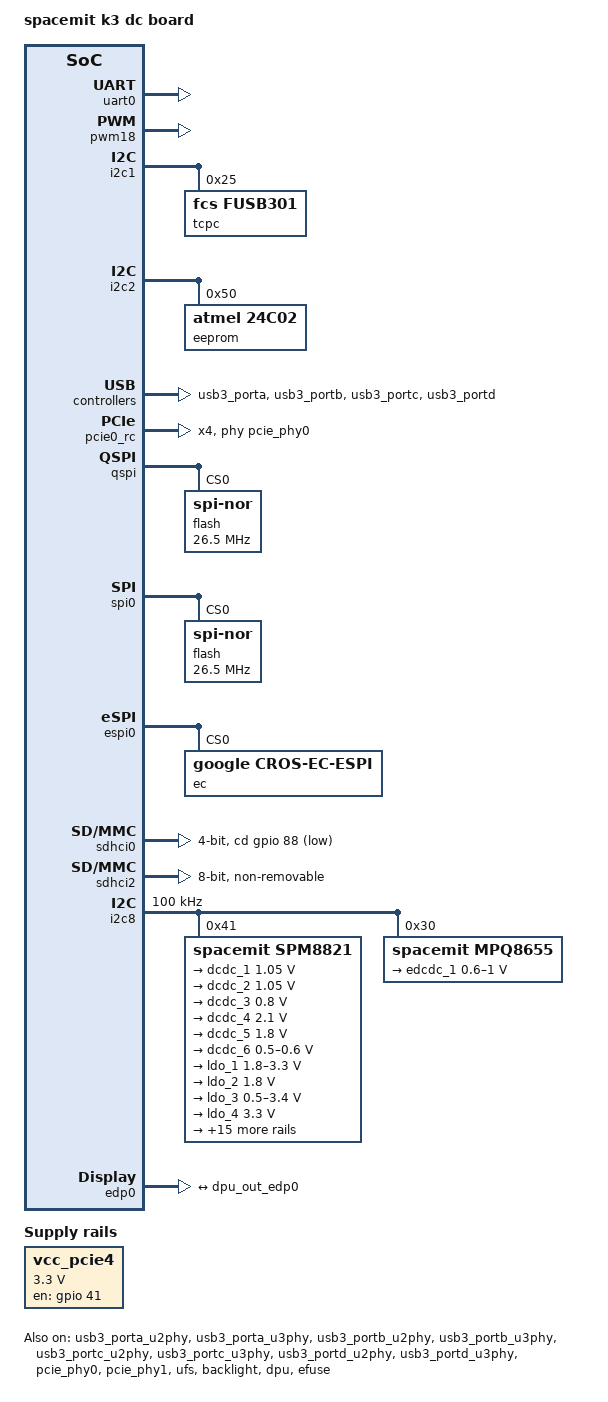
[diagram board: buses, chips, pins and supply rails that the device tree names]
// SPDX-License-Identifier: GPL-2.0
/*
 * finch board's base device tree configure.
 *
 * Copyright (C) 2025 SPACEMIT Micro Limited
 */

#include "k3.dtsi"
#include "k3-pinctrl.dtsi"
#include <dt-bindings/usb/pd.h>

/ {
	model = "spacemit k3 dc board";

	vcc_pcie4: regulator-vcc-pcie4 {
		compatible = "regulator-fixed";
		regulator-name = "pcie4 Vcc";
		regulator-min-microvolt = <3300000>;
		regulator-max-microvolt = <3300000>;
		gpio = <&gpio 41 0>;
		enable-active-high;
		regulator-boot-on;
		status = "okay";
	};
};

&cpus {
	timebase-frequency = <24000000>;
};

&pinctrl {
	espi0_grp {
		power-source = <1800>;
	};

	usb30_drd_dir_0_cfg: usb30_drd_dir-0-cfg {
		pinctrl-single,pins =<
			K3_PADCONF(GPIO_86, MUX_MODE6, (EDGE_NONE | PULL_UP | PAD_DS8)) /* usb30 drd dir */
		>;
		power-source = <1800>;
	};

	pcie0_1_grp {
		pinctrl-single,pins =<
			K3_PADCONF(GPIO_79, MUX_MODE5, (EDGE_NONE | PULL_UP | PAD_DS15))
			K3_PADCONF(GPIO_81, MUX_MODE5, (EDGE_NONE | PULL_UP | PAD_DS15))
		>;
		power-source = <1800>;
	};

	qspi_grp {
		power-source = <1800>;
	};

};

&uart0 {
	status = "okay";
};

&pwm18 {
	pinctrl-names = "default";
	pinctrl-0 = <&pinctrl_pwm18_2>;
	status = "okay";
};

&i2c1 {
	pinctrl-names = "default";
	pinctrl-0 = <&pinctrl_i2c1_3>;
	status = "okay";

	tcpc@25 {
		compatible = "fcs,fusb301";
		reg = <0x25>;

		connector {
			compatible = "usb-c-connector";
			label = "USB-C";
			power-role = "dual";
			data-role = "dual";
			try-power-role = "sink";
			source-pdos = <PDO_FIXED(5000, 2500, PDO_FIXED_USB_COMM)>;
			sink-pdos = <PDO_FIXED(5000, 1400, PDO_FIXED_USB_COMM)>;
			op-sink-microwatt = <15000000>;
			self-powered;
		};
	};
};

&i2c2 {
	#address-cells = <1>;
	#size-cells = <0>;
	pinctrl-names = "default";
	pinctrl-0 = <&pinctrl_i2c2_1>;
	status = "okay";

	eeprom@50{
		compatible = "atmel,24c02";
		reg = <0x50>;
		status = "okay";
	};
};

&usb2_host_u2phy {
	status = "disabled";
};

&usb2_host {
	/* Hub with BT, FG, CAM */
	status = "disabled";
};

&usb3_porta_u2phy {
	status = "okay";
};

&usb3_porta_u3phy {
	/* dual phy selection is auto detect from GPIO86(SS_SW_3V3) */
	pinctrl-names = "default";
	pinctrl-0 = <&usb30_drd_dir_0_cfg>;
	status = "okay";
};

&usb3_porta {
	status = "okay";
	u-boot,dm-spl;
	dwc3@cad00000 {
		dr_mode = "peripheral";
		u-boot,dm-spl;
	};
};

&usb3_portb_u2phy {
	status = "okay";
};

&usb3_portb_u3phy {
       status = "okay";
};

&usb3_portb {
	/* TypeC */
	status = "okay";
};

&usb3_portc_u2phy {
	status = "okay";
};

&usb3_portc_u3phy {
       status = "okay";
};

&usb3_portc {
	/* TypeC */
	status = "okay";
};

&usb3_portd_u2phy {
	status = "okay";
};

&usb3_portd_u3phy {
       status = "okay";
};

&usb3_portd {
	/* TypeC (USB3/DP/Power) (with ANX7447 chip) */
	status = "okay";
};

&pcie_phy0 {
	status = "okay";
};

&pcie_phy1 {
	status = "okay";
};

&pcie0_rc {
	pinctrl-names = "default";
	pinctrl-0 = <&pinctrl_pcie0_1>;
	num-lanes = <4>;
	phys = <&pcie_phy0>, <&pcie_phy1>;
	phy-names = "pcie-phy0", "pcie-phy1";

	status = "okay";
};

&qspi {
	status = "okay";

	pinctrl-names = "default";
	pinctrl-0 = <&pinctrl_qspi>;

	flash@0 {
		compatible = "jedec,spi-nor";
		reg = <0>;
		spi-max-frequency = <26500000>;
		m25p,fast-read;
		broken-flash-reset;
		status = "okay";
	};
};

&spi0 {
	status = "okay";
	pinctrl-names = "default";
	pinctrl-0 = <&pinctrl_ssp0_0>;

	flash@1 {
		compatible = "jedec,spi-nor";
		reg = <0>;
		spi-max-frequency = <26500000>;
		m25p,fast-read;
		broken-flash-reset;
		status = "okay";
	};
};

&espi0{
	status = "okay";

	ec: ec@0 {
		compatible = "google,cros-ec-espi";
		reg = <0x0>;

		/* eSPI VW GPIO interrupt configuration */
		espi-vw-gpio-wire = <0>;       /* Wire 0 within the group */
		espi-vw-gpio-index = <0x82>;   /* VM index 0x82 (Group 2/130) */

		i2c_tunnel: i2c-tunnel {
			compatible = "google,cros-ec-i2c-tunnel";
			#address-cells = <1>;
			#size-cells = <0>;
			google,remote-bus = <1>;
		};
	};
};

&ufs {
	status = "okay";
};

&sdhci0 {
	pinctrl-names = "default","uhs";
	pinctrl-0 = <&pinctrl_mmc1>;
	pinctrl-1 = <&pinctrl_mmc1_uhs>;
	bus-width = <4>;
	cd-gpios = <&gpio 88 0>;
	cd-inverted;
	vqmmc-supply = <&ldo_1>;
	clock-frequency = <204800000>;
	spacemit,tx_delaycode = <0x1f>;
	sdh-phy-module = <0>;
	status = "okay";
};

&sdhci2 {
	bus-width = <8>;
	non-removable;
	mmc-hs400-1_8v;
	mmc-hs400-enhanced-strobe;
	clock-frequency = <375000000>;
	sdh-phy-module = <1>;
	status = "okay";
};

&i2c8 {
	clock-frequency = <100000>;
	u-boot,dm-spl;
	pinctrl-names = "default";
	pinctrl-0 = <&pinctrl_i2c8>;
	status = "okay";

	spm8821: pmic@41 {
		compatible = "spacemit,spm8821";
		reg = <0x41>;
		bus = <8>;
		u-boot,dm-spl;

		regulators {
			/* buck */
			dcdc_1: DCDC_REG1 {
				regulator-name = "dcdc1";
				regulator-min-microvolt = <1050000>;
				regulator-max-microvolt = <1050000>;
				regulator-always-on;
				regulator-boot-on;
				u-boot,dm-spl;
				regulator-state-mem {
					regulator-suspend-microvolt = <1050000>;
				};
			};

			dcdc_2: DCDC_REG2 {
				regulator-name = "dcdc2";
				regulator-min-microvolt = <1050000>;
				regulator-max-microvolt = <1050000>;
				regulator-always-on;
				regulator-boot-on;
				regulator-state-mem {
					regulator-suspend-microvolt = <1050000>;
				};
			};

			dcdc_3: DCDC_REG3 {
				regulator-name = "dcdc3";
				regulator-min-microvolt = <800000>;
				regulator-max-microvolt = <800000>;
				regulator-always-on;
				regulator-boot-on;
				u-boot,dm-spl;
				regulator-state-mem {
					regulator-suspend-microvolt = <800000>;
				};
			};

			dcdc_4: DCDC_REG4 {
				regulator-name = "dcdc4";
				regulator-min-microvolt = <2100000>;
				regulator-max-microvolt = <2100000>;
				regulator-always-on;
				regulator-boot-on;
				regulator-state-mem {
					regulator-suspend-microvolt = <2100000>;
				};
			};

			dcdc_5: DCDC_REG5 {
				regulator-name = "dcdc5";
				regulator-min-microvolt = <1800000>;
				regulator-max-microvolt = <1800000>;
				regulator-always-on;
				regulator-boot-on;
				regulator-state-mem {
					regulator-suspend-microvolt = <1800000>;
				};
			};

			dcdc_6: DCDC_REG6 {
				regulator-name = "dcdc6";
				regulator-min-microvolt = <500000>;
				regulator-max-microvolt = <600000>;
				regulator-always-on;
				regulator-boot-on;
				regulator-state-mem {
					regulator-suspend-microvolt = <500000>;
				};
			};

			/* aldo */
			ldo_1: LDO_REG1 {
				regulator-name = "ldo1";
				regulator-min-microvolt = <1800000>;
				regulator-max-microvolt = <3300000>;
				regulator-always-on;
				regulator-boot-on;
				u-boot,dm-spl;
				regulator-state-mem {
					regulator-suspend-microvolt = <1800000>;
				};
			};

			ldo_2: LDO_REG2 {
				regulator-name = "ldo2";
				regulator-min-microvolt = <1800000>;
				regulator-max-microvolt = <1800000>;
				regulator-always-on;
				regulator-boot-on;
				regulator-state-mem {
					regulator-suspend-microvolt = <1800000>;
				};
			};

			ldo_3: LDO_REG3 {
				regulator-name = "ldo3";
				regulator-min-microvolt = <500000>;
				regulator-max-microvolt = <3400000>;
				regulator-state-mem {
					regulator-suspend-microvolt = <3300000>;
				};
			};

			ldo_4: LDO_REG4 {
				regulator-name = "ldo4";
				regulator-min-microvolt = <3300000>;
				regulator-max-microvolt = <3300000>;
				regulator-always-on;
				regulator-boot-on;
				regulator-state-mem {
					regulator-suspend-microvolt = <3300000>;
				};
			};

			/* dldo */
			ldo_5: LDO_REG5 {
				regulator-name = "ldo5";
				regulator-min-microvolt = <1200000>;
				regulator-max-microvolt = <1200000>;
				regulator-always-on;
				regulator-boot-on;
				regulator-state-mem {
					regulator-suspend-microvolt = <1200000>;
				};
			};

			ldo_6: LDO_REG6 {
				regulator-name = "ldo6";
				regulator-min-microvolt = <900000>;
				regulator-max-microvolt = <900000>;
				regulator-always-on;
				regulator-boot-on;
				regulator-state-mem {
					regulator-suspend-microvolt = <900000>;
				};
			};

			ldo_7: LDO_REG7 {
				regulator-name = "ldo7";
				regulator-min-microvolt = <800000>;
				regulator-max-microvolt = <800000>;
				regulator-always-on;
				regulator-boot-on;
				regulator-state-mem {
					regulator-suspend-microvolt = <800000>;
				};
			};

			ldo_8: LDO_REG8 {
				regulator-name = "ldo8";
				regulator-min-microvolt = <1800000>;
				regulator-max-microvolt = <1800000>;
				regulator-boot-on;
				regulator-state-mem {
					regulator-suspend-microvolt = <1800000>;
				};
			};

			ldo_9: LDO_REG9 {
				regulator-name = "ldo9";
				regulator-min-microvolt = <1800000>;
				regulator-max-microvolt = <1800000>;
				regulator-always-on;
				regulator-boot-on;
				regulator-state-mem {
					regulator-suspend-microvolt = <1800000>;
				};
			};

			ldo_10: LDO_REG10 {
				regulator-name = "ldo10";
				regulator-min-microvolt = <1800000>;
				regulator-max-microvolt = <1800000>;
				regulator-always-on;
				regulator-boot-on;
				regulator-state-mem {
					regulator-suspend-microvolt = <1800000>;
				};
			};

			ldo_11: LDO_REG11 {
				regulator-name = "ldo11";
				regulator-min-microvolt = <1800000>;
				regulator-max-microvolt = <1800000>;
				regulator-always-on;
				regulator-boot-on;
				regulator-state-mem {
					regulator-suspend-microvolt = <1800000>;
				};
			};

			sw_2: SWITCH_REG1 {
				regulator-name = "switch1";
			};

			power_event: SWITCH_REG2 {
				regulator-name = "pwr-event";
			};

			power_int: SWITCH_REG3 {
				regulator-name = "pwr-int";
			};

			rtc_ctrl: SWITCH_REG4 {
				regulator-name = "rtc-ctrl";
			};

			rtc_event: SWITCH_REG5 {
				regulator-name = "rtc-event";
			};

			rtc_irq: SWITCH_REG6 {
				regulator-name = "rtc-irq";
			};

			power_down: SWITCH_REG7 {
				regulator-name = "power-down";
			};

			reboot_flag: SWITCH_REG8 {
				regulator-name = "reboot-flag";
			};

			wdt_pm8821: PMIC_WDT {
				wdt-name = "wdt_pm8821";
			};
		};
	};

	mpq8655: mpq8655@30 {
		compatible = "spacemit,mpq8655";
		reg = <0x30>;
		bus = <8>;
		u-boot,dm-spl;

		regulators {
			u-boot,dm-spl;

			edcdc_1: EDCDC_REG1 {
				regulator-name = "edcdc1";
				regulator-min-microvolt = <600000>;
				regulator-max-microvolt = <1000000>;
				regulator-init-microvolt = <880000>;
				regulator-always-on;
				regulator-boot-on;
				u-boot,dm-spl;
			};
		};
	};
};

&backlight {
	pwms = <&pwm18 0 2000>;
	default-brightness-level = <7>;
	status = "okay";
};

&dpu {
	status = "okay";

	dpu_out: port {
		#address-cells = <1>;
		#size-cells = <0>;

		dpu_out_edp0: endpoint@1 {
			reg = <1>;
			remote-endpoint = <&edp0_in_dpu>;
		};
	};
};

&edp0 {
	pinctrl-names = "default";
	pinctrl-0 = <&pinctrl_dp0_1>;
	power-gpios = <&gpio 101 0>;
	enable-gpios = <&gpio 118 0>;
	backlight = <&backlight>;
	status = "okay";

	ports {
		dp1_in: port {
			#address-cells = <1>;
			#size-cells = <0>;
			edp0_in_dpu: endpoint@0 {
				reg = <0>;
				remote-endpoint = <&dpu_out_edp0>;
			};
		};
	};
};

&efuse {
	status = "okay";
};
